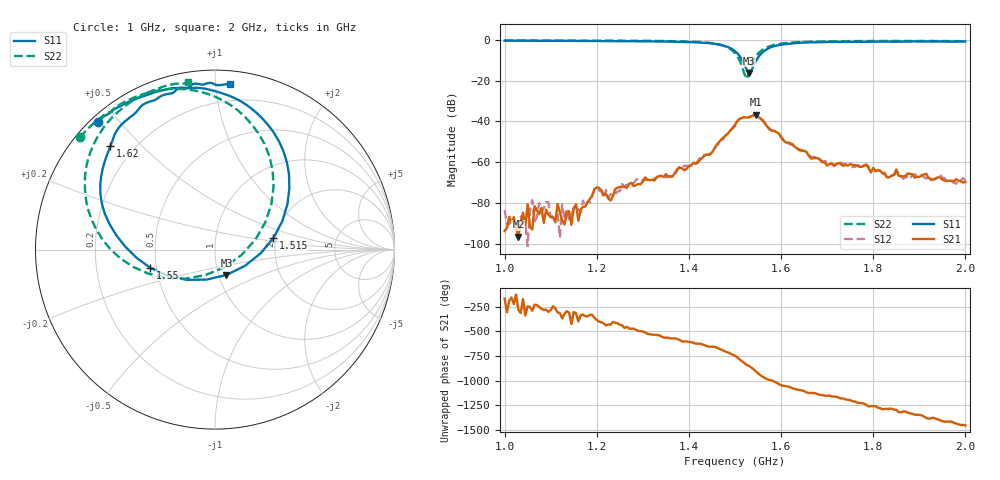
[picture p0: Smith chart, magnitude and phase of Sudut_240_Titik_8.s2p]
# Hz S RI R 50
! CMT, C1220, 16058040, 17.2.0/1
! Date: 14/08/2018 12:07:50
! Data: Format (Calibration Info)
! Freq  S11: Re/Im (F2)  S21: Re/Im (F2)  S12: Re/Im (F2)  S22: Re/Im (F2)
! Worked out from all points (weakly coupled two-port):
!   201 points, 1 GHz to 2 GHz, reference 50 ohm
!   highest |S21| = -36.70 dB at 1.545 GHz (marker M1); lowest = -96.6 dB at 1.03 GHz (marker M2)
!   lowest |S11| = -16.2 dB at 1.53 GHz (marker M3), VSWR 1.37, Z = 54.5 - j15.7 ohm
!   |S11| at or under -10 dB: 1.516 GHz to 1.546 GHz (30.05 MHz wide, 1.96 % of centre)
!   |S22| runs from -19.1 to -0.2 dB; largest |S21 - S12| = 0.00061
!   S11 on the Smith chart (normalised r, x): 1 GHz: 0.02, +0.44; 1.515 GHz: 1.94, +0.28; 1.55 GHz: 0.46, -0.11; 1.62 GHz: 0.12, +0.41; 2 GHz: 0.09, +1.09
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1e9  -0.6544 0.7098  -2e-05 -4.11e-06  -6.67e-05 -8.32e-07  -0.7535 0.6257
1.03e9  -0.6316 0.7316  3.8e-06 1.42e-05  -2.63e-05 -9.27e-06  -0.7331 0.6484
1.17e9  -0.4867 0.8215  6.98e-05 3.97e-05  0.000102 5.23e-05  -0.6164 0.7514
1.185e9  -0.4632 0.8306  0.000111 5.54e-05  0.000102 -6.92e-06  -0.599 0.7609
1.2e9  -0.4454 0.8367  0.000215 -0.000104  0.000199 -9.44e-05  -0.5823 0.7648
1.23e9  -0.4081 0.8511  3.24e-05 -0.000109  5.07e-05 -0.000153  -0.5605 0.7885
1.245e9  -0.3786 0.8612  0.000122 -0.000201  4.05e-05 -0.000188  -0.5424 0.8005
1.335e9  -0.2303 0.8998  -0.000454 -5.27e-06  -0.000455 5.8e-05  -0.3997 0.8662
1.45e9  0.1719 0.8086  0.000712 0.00158  0.000869 0.0016  0.0247 0.8405
1.5e9  0.4142 0.3386  0.00738 -0.00365  0.00688 -0.00349  0.3262 0.3495
1.515e9  0.3258 0.0651  0.00167 -0.012  0.00197 -0.012  0.2248 0.0559
1.525e9  0.1669 -0.0906  -0.00583 -0.011  -0.00579 -0.0111  0.0537 -0.0975
1.53e9  0.064 -0.141  -0.00816 -0.00978  -0.00813 -0.00981  -0.0537 -0.1423
1.545e9  -0.2663 -0.1449  -0.0146 0.00116  -0.0144 0.000815  -0.371 -0.1339
1.55e9  -0.3613 -0.1008  -0.012 0.00564  -0.0123 0.00517  -0.4555 -0.0965
1.58e9  -0.6309 0.2583  0.000759 0.00583  0.00107 0.00603  -0.7042 0.214
1.62e9  -0.583 0.5762  0.00282 0.000736  0.00264 0.000638  -0.7089 0.4969
1.67e9  -0.4618 0.7456  0.000909 -0.000854  0.000991 -0.000915  -0.6256 0.6731
1.785e9  -0.2353 0.8726  -0.00083 -0.000245  -0.000826 -0.000281  -0.4446 0.8377
1.835e9  -0.1606 0.8988  -0.000389 0.000168  -0.000391 0.000122  -0.3754 0.8745
1.85e9  -0.1443 0.903  -0.000548 0.000372  -0.000397 0.000362  -0.355 0.8839
2e9  0.0855 0.9211  0.000316 -6.89e-05  0.00034 -6.41e-05  -0.1509 0.9335
